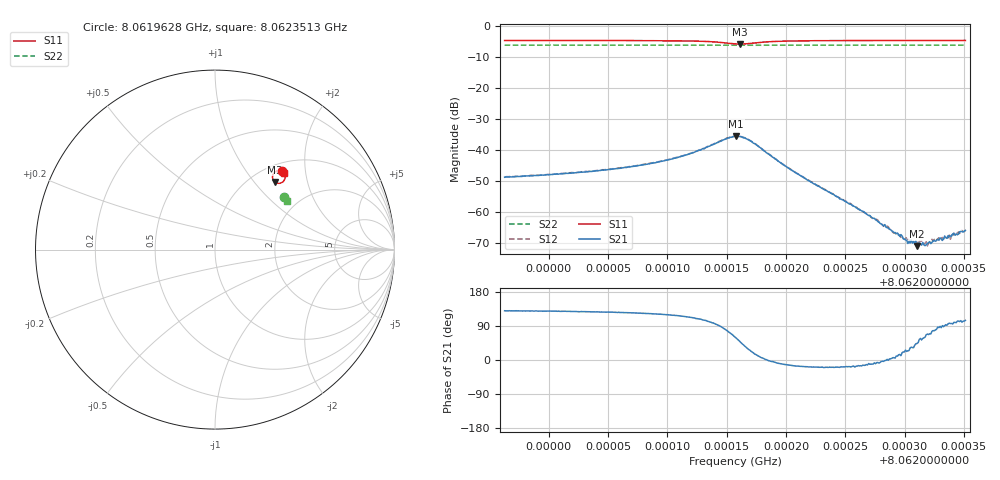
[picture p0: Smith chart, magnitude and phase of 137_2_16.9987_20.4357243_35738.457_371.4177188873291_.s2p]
#  HZ  S  RI  R  50.00
! Rohde & Schwarz Vector Network Analyzer
! Rohde-Schwarz,ZNB20-2Port,1311601062101988,3.16
! Created: UTC 3/20/2024, 10:58:11 PM
! freq[Hz]  re:S11  im:S11  re:S21  im:S21  re:S12  im:S12  re:S22  im:S22
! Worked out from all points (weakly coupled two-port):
!   401 points, 8.0619628 GHz to 8.0623513 GHz, reference 50 ohm
!   highest |S21| = -35.70 dB at 8.062158 GHz (marker M1); lowest = -71.2 dB at 8.0623105 GHz (marker M2)
!   lowest |S11| = -6.0 dB at 8.0621609 GHz (marker M3), VSWR 3.03, Z = 63.6 + j64.2 ohm
!   |S11| at or under -10 dB: nowhere
!   |S22| runs from -6.4 to -6.3 dB; largest |S21 - S12| = 0.0011
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8.06196276e9  0.3739 0.4375  -0.0023 0.00274  -0.00219 0.00293  0.3867 0.2909
8.06202784e9  0.3798 0.4318  -0.00264 0.00341  -0.00247 0.00363  0.389 0.2877
8.06206378e9  0.3837 0.4269  -0.00295 0.00419  -0.00272 0.0044  0.3902 0.2857
8.06209292e9  0.3876 0.4201  -0.00324 0.00544  -0.00296 0.00567  0.3913 0.2841
8.06211915e9  0.3909 0.4078  -0.00331 0.00791  -0.00286 0.00817  0.392 0.2821
8.06214149e9  0.3839 0.3833  -0.000834 0.0128  -3.16e-05 0.0129  0.392 0.2802
8.06215703e9  0.3458 0.3705  0.00799 0.0142  0.009 0.0138  0.3905 0.2795
8.062158e9  0.3425 0.3716  0.00875 0.0139  0.00962 0.0134  0.3906 0.2796
8.06216092e9  0.3331 0.3772  0.0106 0.0123  0.0114 0.0117  0.3904 0.2799
8.06216966e9  0.3202 0.4042  0.0126 0.00608  0.0131 0.00522  0.3906 0.2809
8.06219783e9  0.349 0.4392  0.00556 -0.00111  0.00555 -0.00144  0.3932 0.2807
8.06222211e9  0.3631 0.4391  0.00277 -0.000945  0.00277 -0.00112  0.3946 0.2793
8.06226485e9  0.3742 0.4352  0.000983 -0.000236  0.000943 -0.000319  0.3963 0.277
8.06228719e9  0.3775 0.4333  0.000519 2.36e-05  0.000529 -2.11e-05  0.3971 0.2757
8.06229205e9  0.3782 0.4329  0.000458 4.17e-05  0.000452 3.11e-05  0.3971 0.2753
8.06230273e9  0.3793 0.4321  0.000279 0.000126  0.000327 0.000144  0.3976 0.2749
8.06230759e9  0.3799 0.4317  0.000279 0.000178  0.000253 0.000185  0.3978 0.2748
8.06231051e9  0.3804 0.4315  0.0002 0.00019  0.000237 0.000215  0.3979 0.2747
8.06231925e9  0.3813 0.4308  0.000112 0.000283  0.000138 0.000242  0.3981 0.2743
8.06232313e9  0.3817 0.4306  7.74e-05 0.00031  0.000121 0.000336  0.3982 0.2739
8.06233673e9  0.3829 0.4295  -4.01e-05 0.000407  -3.88e-05 0.000374  0.3988 0.2732
8.0623513e9  0.3842 0.4286  -0.000125 0.000482  -8.56e-05 0.000487  0.3992 0.2725
